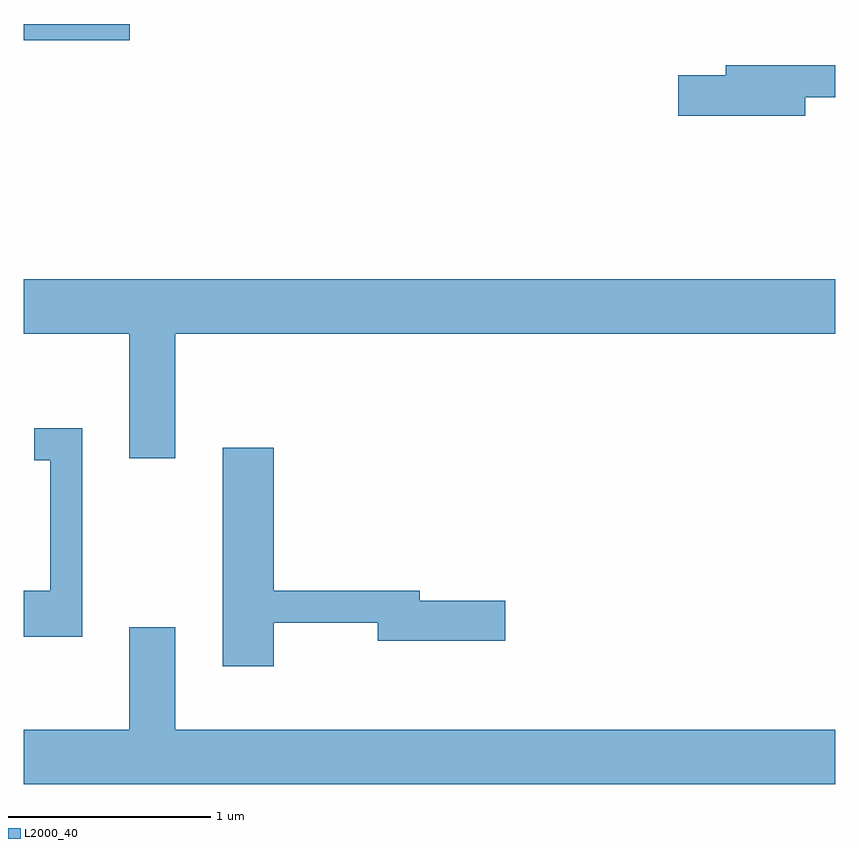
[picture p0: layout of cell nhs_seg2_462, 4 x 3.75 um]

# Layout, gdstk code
import gdstk
lib = gdstk.Library(unit=1e-6, precision=1e-09)
def R(c, l, rs):  # rectangles x0, y0, x1, y1
    for r in rs: c.add(gdstk.rectangle(r[:2], r[2:], *l))
def P(c, l, *ps):  # polygons
    for p in ps: c.add(gdstk.Polygon(p, *l))
L2000_40 = (2000, 40)

nhs_seg2_462 = lib.new_cell('nhs_seg2_462')
R(nhs_seg2_462, L2000_40, [(197.611,1089.721,198.134,1089.802)])
P(nhs_seg2_462, L2000_40, [(201.464,1089.441),(201.611,1089.441),(201.611,1089.599),(201.071,1089.599),(201.071,1089.549),(200.836,1089.549),(200.836,1089.351),(201.464,1089.351)],
  [(198.359,1088.276),(201.611,1088.276),(201.611,1088.544),(197.611,1088.544),(197.611,1088.276),(198.131,1088.276),(198.131,1087.661),(198.359,1087.661)],
  [(197.899,1087.809),(197.663,1087.809),(197.663,1087.651),(197.741,1087.651),(197.741,1087.009),(197.611,1087.009),(197.611,1086.781),(197.899,1086.781)],
  [(198.844,1086.851),(199.356,1086.851),(199.356,1086.761),(199.984,1086.761),(199.984,1086.959),(199.564,1086.959),(199.564,1087.009),(198.844,1087.009),(198.844,1087.714),(198.591,1087.714),(198.591,1086.636),(198.844,1086.636)],
  [(201.611,1086.324),(198.359,1086.324),(198.359,1086.829),(198.131,1086.829),(198.131,1086.324),(197.611,1086.324),(197.611,1086.056),(201.611,1086.056)])

lib.write_gds('nhs_seg2_462.gds')
